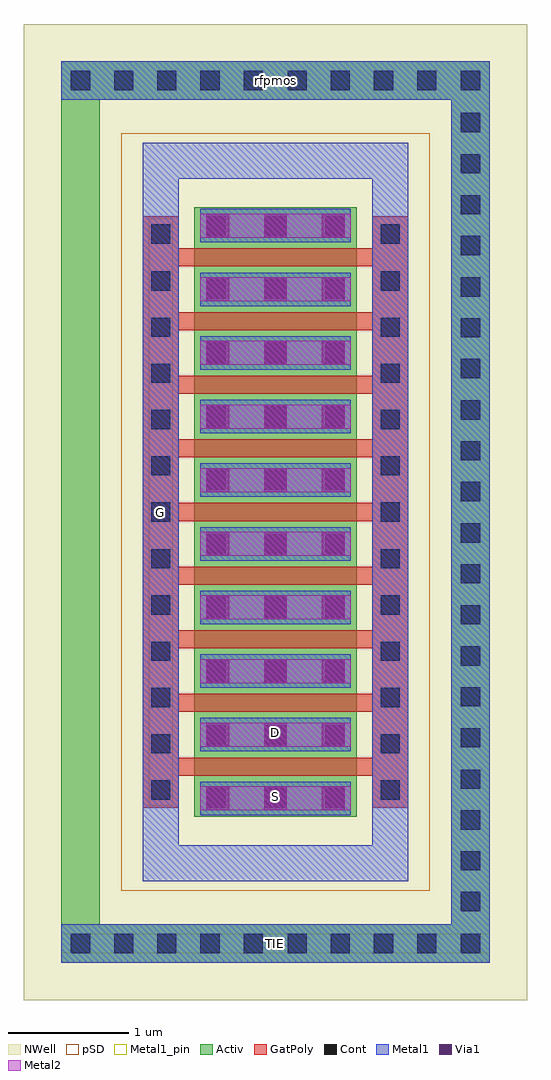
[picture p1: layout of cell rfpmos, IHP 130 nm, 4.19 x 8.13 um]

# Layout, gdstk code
import gdstk
lib = gdstk.Library(unit=1e-6, precision=5e-09)
def R(c, l, rs):  # rectangles x0, y0, x1, y1
    for r in rs: c.add(gdstk.rectangle(r[:2], r[2:], *l))
def A(c, l, x, y, w, h, nx, ny, dx, dy):  # array of equal rectangles
    R(c, l, [(x+i*dx, y+j*dy, x+i*dx+w, y+j*dy+h) for i in range(nx) for j in range(ny)])
def P(c, l, *ps):  # polygons
    for p in ps: c.add(gdstk.Polygon(p, *l))
Activ = (1, 0)
GatPoly = (5, 0)
Cont = (6, 0)
Metal1 = (8, 0)
Metal1_pin = (8, 2)
Metal2 = (10, 0)
pSD = (14, 0)
Via1 = (19, 0)
NWell = (31, 0)

rfpmos = lib.new_cell('rfpmos')
R(rfpmos, Activ, [(1.42,1.525,2.77,6.605)])
P(rfpmos, Activ, [(0.31,0.31),(0.31,7.5),(0.63,7.5),(0.63,0.63),(3.56,0.63),(3.56,7.5),(0.31,7.5),(0.31,7.82),(3.88,7.82),(3.88,0.31)])
A(rfpmos, GatPoly, 1.29, 1.87, 1.61, 0.15, 1, 9, 0, 0.53)
R(rfpmos, GatPoly, [(0.99,1.6,1.29,6.53), (2.9,1.6,3.2,6.53)])
A(rfpmos, Cont, 0.39, 0.39, 0.16, 0.16, 5, 2, 0.36, 7.19)
A(rfpmos, Cont, 2.195, 0.39, 0.16, 0.16, 4, 2, 0.36, 7.19)
A(rfpmos, Cont, 3.64, 0.74, 0.16, 0.16, 1, 4, 0, 0.34)
A(rfpmos, Cont, 1.52, 1.6, 0.16, 0.16, 3, 10, 0.495, 0.53)
A(rfpmos, Cont, 1.06, 1.67, 0.16, 0.16, 1, 6, 0, 0.385)
A(rfpmos, Cont, 2.97, 1.67, 0.16, 0.16, 1, 6, 0, 0.385)
A(rfpmos, Cont, 3.64, 2.105, 0.16, 0.16, 1, 3, 0, 0.34)
A(rfpmos, Cont, 3.64, 3.13, 0.16, 0.16, 1, 3, 0, 0.34)
A(rfpmos, Cont, 1.06, 3.985, 0.16, 0.16, 1, 6, 0, 0.385)
A(rfpmos, Cont, 2.97, 3.985, 0.16, 0.16, 1, 6, 0, 0.385)
A(rfpmos, Cont, 3.64, 4.155, 0.16, 0.16, 1, 3, 0, 0.34)
A(rfpmos, Cont, 3.64, 5.18, 0.16, 0.16, 1, 3, 0, 0.34)
A(rfpmos, Cont, 3.64, 6.205, 0.16, 0.16, 1, 3, 0, 0.34)
R(rfpmos, Cont, [(3.64,0.39,3.8,0.55), (1.06,6.3,1.22,6.46), (2.97,6.3,3.13,6.46), (3.64,7.23,3.8,7.39), (3.64,7.58,3.8,7.74)])
A(rfpmos, Metal1, 1.47, 1.54, 1.25, 0.28, 1, 10, 0, 0.53)
R(rfpmos, Metal1, [(0.31,0.31,3.88,0.63), (3.56,0.63,3.88,7.5), (1.04,1.62,1.24,6.51), (2.95,1.62,3.15,6.51), (0.31,7.5,3.88,7.82)])
P(rfpmos, Metal1, [(0.99,0.99),(0.99,6.84),(1.29,6.84),(1.29,1.29),(2.9,1.29),(2.9,6.84),(0.99,6.84),(0.99,7.14),(3.2,7.14),(3.2,0.99)])
R(rfpmos, Metal1_pin, [(0.31,0.39,3.88,0.55), (0.31,0.39,3.88,0.55), (1.47,1.54,2.72,1.82), (1.47,1.54,2.72,1.82), (1.04,1.62,1.24,6.51), (1.04,1.62,1.24,6.51), (1.47,2.07,2.72,2.35), (1.47,2.07,2.72,2.35)])
A(rfpmos, Metal2, 1.47, 1.58, 1.25, 0.2, 1, 10, 0, 0.53)
R(rfpmos, pSD, [(0.81,0.91,3.38,7.22)])
A(rfpmos, Via1, 1.52, 1.585, 0.19, 0.19, 3, 10, 0.48, 0.53)
R(rfpmos, NWell, [(0,0,4.19,8.13)])
rfpmos.add(gdstk.Label('S', (2.095,1.695), layer=63, texttype=0))
rfpmos.add(gdstk.Label('D', (2.095,2.23), layer=63, texttype=0))
rfpmos.add(gdstk.Label('G', (1.14,4.065), layer=63, texttype=0))
rfpmos.add(gdstk.Label('TIE', (2.095,0.47), layer=63, texttype=0))
rfpmos.add(gdstk.Label('rfpmos', (2.095,7.66), layer=63, texttype=0))

lib.write_gds('rfpmos.gds')
